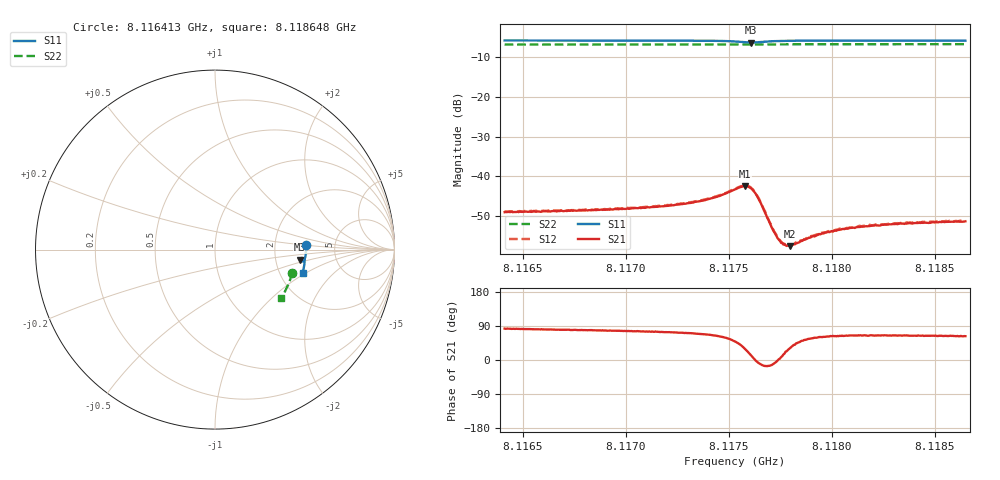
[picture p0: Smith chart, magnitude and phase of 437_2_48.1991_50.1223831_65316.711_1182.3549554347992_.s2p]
#  HZ  S  RI  R  50.00
! Rohde & Schwarz Vector Network Analyzer
! Rohde-Schwarz,ZNB20-2Port,1311601062101988,3.16
! Created: UTC 3/20/2024, 11:55:41 AM
! freq[Hz]  re:S11  im:S11  re:S21  im:S21  re:S12  im:S12  re:S22  im:S22
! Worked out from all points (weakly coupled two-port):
!   401 points, 8.116413 GHz to 8.118648 GHz, reference 50 ohm
!   highest |S21| = -42.41 dB at 8.117581 GHz (marker M1); lowest = -57.5 dB at 8.117799 GHz (marker M2)
!   lowest |S11| = -6.4 dB at 8.117609 GHz (marker M3), VSWR 2.83, Z = 138 - j19.8 ohm
!   |S11| at or under -10 dB: nowhere
!   |S22| runs from -6.9 to -6.8 dB; largest |S21 - S12| = 0.00021
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8.1164128e9  0.5065 0.0279  0.00045 0.00354  0.0005 0.00358  0.431 -0.1291
8.1167872e9  0.5066 -0.000616  0.000703 0.00369  0.000769 0.00371  0.4237 -0.1542
8.1171615e9  0.5048 -0.0302  0.00116 0.00404  0.00122 0.0041  0.415 -0.1788
8.1172733e9  0.5035 -0.0397  0.00138 0.00427  0.00146 0.00433  0.4122 -0.1862
8.1173739e9  0.5013 -0.0492  0.00183 0.00462  0.00191 0.00471  0.4093 -0.1927
8.1174633e9  0.4968 -0.0586  0.00277 0.00512  0.00286 0.00519  0.4067 -0.1985
8.1175303e9  0.4885 -0.0652  0.00449 0.00522  0.00466 0.0053  0.4045 -0.2027
8.1175806e9  0.4772 -0.0629  0.00667 0.00359  0.00681 0.00364  0.4026 -0.2055
8.1176086e9  0.4741 -0.0553  0.00695 0.00143  0.00708 0.00141  0.4017 -0.2068
8.1176253e9  0.4759 -0.0505  0.00634 0.000198  0.00647 0.000165  0.4014 -0.2077
8.1176421e9  0.4797 -0.0472  0.00535 -0.000646  0.00548 -0.000713  0.4011 -0.2088
8.1177092e9  0.4936 -0.0505  0.00222 -0.000518  0.00229 -0.000551  0.3997 -0.2128
8.1177427e9  0.4965 -0.0548  0.00161 5.19e-05  0.00165 8.59e-06  0.3988 -0.2153
8.1177539e9  0.4972 -0.0564  0.00146 0.000193  0.00151 0.000218  0.3986 -0.2158
8.1177706e9  0.4978 -0.0586  0.00135 0.000417  0.00138 0.000379  0.3981 -0.2168
8.1177986e9  0.4986 -0.0619  0.00114 0.000702  0.00121 0.000727  0.3972 -0.2187
8.1179047e9  0.499 -0.073  0.000955 0.00149  0.00102 0.00149  0.3939 -0.2256
8.1179662e9  0.4985 -0.0787  0.000954 0.00173  0.000996 0.00172  0.3918 -0.2295
8.1180612e9  0.4975 -0.0866  0.000966 0.00196  0.000992 0.00199  0.3887 -0.2353
8.1181394e9  0.4965 -0.093  0.000973 0.00212  0.00103 0.00216  0.386 -0.2401
8.1182791e9  0.4944 -0.1039  0.00108 0.00227  0.00112 0.00231  0.381 -0.2487
8.1186479e9  0.4877 -0.1314  0.00125 0.00244  0.00128 0.00246  0.3671 -0.2704
